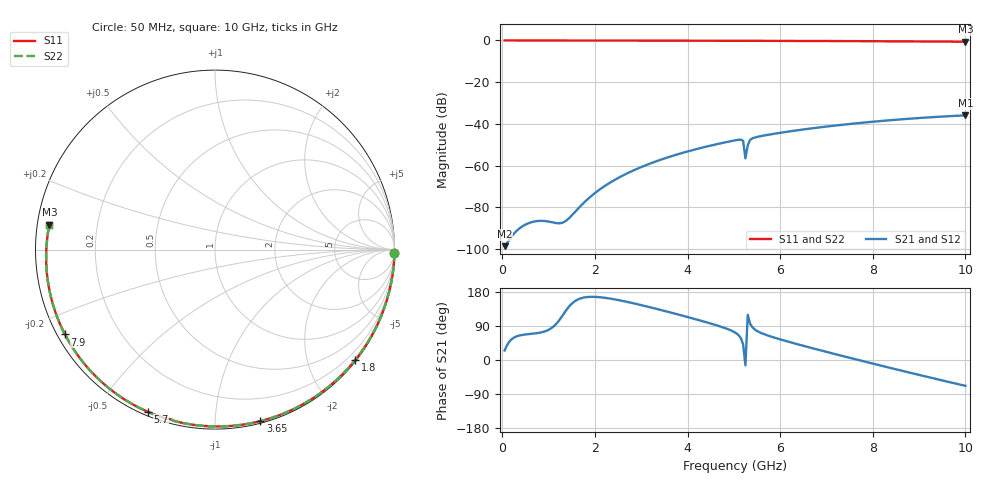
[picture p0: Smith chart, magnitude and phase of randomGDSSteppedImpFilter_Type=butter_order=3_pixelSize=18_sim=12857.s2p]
! freq	dB(S11)	phase(S11)	dB(S12)	phase(S12)
!  dB(S21)	phase(S21)	dB(S22)	phase(S22)
!S-par simulation data
#  GHz  S  DB  R 50
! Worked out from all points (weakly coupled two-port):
!   200 points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, 50 MHz to 10 GHz, reference 50 ohm
!   highest |S21| = -35.91 dB at 10 GHz (marker M1); lowest = -98.6 dB at 50 MHz (marker M2)
!   lowest |S11| = -0.6 dB at 10 GHz (marker M3), VSWR 29.01, Z = 1.73 + j3.76 ohm
!   |S11| at or under -10 dB: nowhere
!   |S22| runs from -0.6 to 0.0 dB; largest |S21 - S12| = 0
!   S11 on the Smith chart (normalised r, x): 50 MHz: open; 1.8 GHz: 0.03, -2.88; 3.65 GHz: 0.02, -1.30; 5.7 GHz: 0.02, -0.67; 7.9 GHz: 0.02, -0.26; 10 GHz: 0.03, +0.08
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0.05  -0.00 -1.1  -98.63 25.1  -98.63 25.1  -0.00 -1.1
0.8  -0.02 -17.3  -86.51 71.8  -86.51 71.8  -0.02 -17.3
1.65  -0.04 -35.2  -80.31 160.7  -80.31 160.7  -0.04 -35.2
1.75  -0.05 -37.3  -78.05 164.5  -78.05 164.5  -0.05 -37.3
1.8  -0.05 -38.4  -76.98 165.6  -76.98 165.6  -0.05 -38.4
2.1  -0.06 -44.5  -71.51 165.7  -71.51 165.7  -0.06 -44.5
2.45  -0.07 -51.7  -66.58 159.5  -66.58 159.5  -0.07 -51.7
2.9  -0.08 -60.6  -61.65 147.8  -61.65 147.8  -0.08 -60.6
3.4  -0.09 -70.4  -57.34 132.8  -57.34 132.8  -0.09 -70.4
3.65  -0.10 -75.2  -55.51 124.9  -55.51 124.9  -0.10 -75.2
4.35  -0.13 -88.3  -51.20 101.6  -51.20 101.6  -0.13 -88.3
5.05  -0.16 -101.1  -47.80 70.7  -47.80 70.7  -0.16 -101.1
5.2  -0.17 -103.9  -48.08 41.7  -48.08 41.7  -0.17 -103.9
5.25  -0.21 -104.7  -56.53 -14.1  -56.53 -14.1  -0.21 -104.7
5.3  -0.19 -105.4  -50.28 119.4  -50.28 119.4  -0.19 -105.4
5.35  -0.18 -106.3  -47.67 96.0  -47.67 96.0  -0.18 -106.3
5.7  -0.19 -112.5  -45.37 66.1  -45.37 66.1  -0.19 -112.5
6.7  -0.25 -129.9  -42.10 31.0  -42.10 31.0  -0.25 -129.9
7.9  -0.35 -150.5  -39.17 -6.4  -39.17 -6.4  -0.35 -150.5
8.35  -0.40 -158.3  -38.28 -20.1  -38.28 -20.1  -0.40 -158.3
9.2  -0.49 -173.5  -36.89 -45.2  -36.89 -45.2  -0.49 -173.5
10  -0.60 171.4  -35.91 -68.1  -35.91 -68.1  -0.60 171.4
